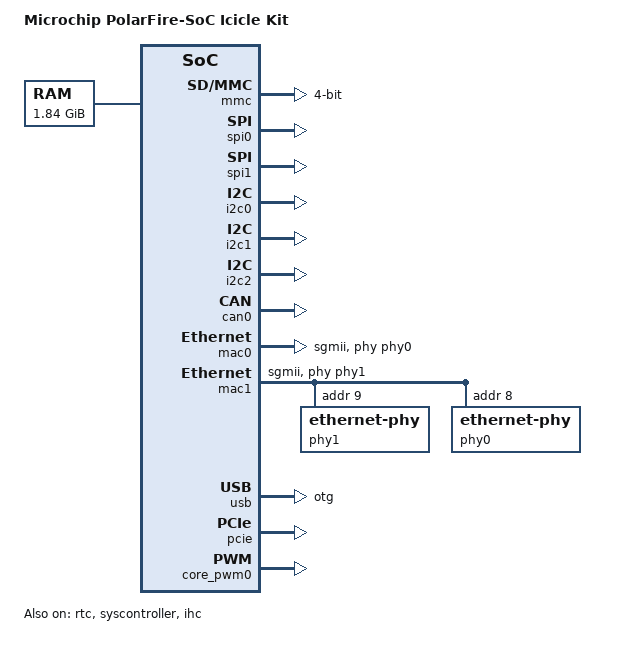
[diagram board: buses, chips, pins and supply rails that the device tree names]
// SPDX-License-Identifier: (GPL-2.0 OR MIT)
/* Copyright (c) 2020-2021 Microchip Technology Inc */

/dts-v1/;

#include "microchip-mpfs.dtsi"

/* Clock frequency (in Hz) of the rtcclk */
#define RTCCLK_FREQ		1000000

/ {
	#address-cells = <2>;
	#size-cells = <2>;
	model = "Microchip PolarFire-SoC Icicle Kit";
	compatible = "microchip,mpfs-icicle-kit", "microchip,mpfs";

	aliases {
		ethernet0 = &mac1;
		serial0 = &mmuart0;
		serial1 = &mmuart1;
		serial2 = &mmuart2;
		serial3 = &mmuart3;
		serial4 = &mmuart4;
	};

	chosen {
		stdout-path = "serial1:115200n8";
	};

	cpus {
		timebase-frequency = <RTCCLK_FREQ>;
	};

	reserved-memory {
		#address-cells = <2>;
		#size-cells = <2>;
		ranges;

		/*
		* 0x10_75BB_0000 ~ 0x10_75FB_0000 is reserved for context B (BM/RTOS)
		* Shouldn't be used in Linux (context A)
		*
		* 0x10_75FB_0000 ~ 0x10_75FC_0000 is used by context A and context B
		  RPMsg vrings
		*/

		fabricbuf0ddrc: buffer@80000000 {
			compatible = "shared-dma-pool";
			reg = <0x0 0x80000000 0x0 0x2000000>;
		};

		fabricbuf1ddrnc: buffer@c0000000 {
			compatible = "shared-dma-pool";
			reg = <0x0 0xc0000000 0x0 0x8000000>;
		};

		fabricbuf2ddrncwcb: buffer@d0000000 {
			compatible = "shared-dma-pool";
			reg = <0x0 0xd0000000 0x0 0x8000000>;
		};

		contextb_reserved: contextb_reserved@1075BB0000 {
			reg = <0x10 0x75BB0000 0x0 0x400000>;
		};

		rpmsg_vrings_reserved: rpmsg_vrings@1075FB0000 {
			reg = <0x10 0x75FB0000 0x0 0x10000>;
		};

		rpmsg_dma_reserved: rpmsg_dma@1075FC0000 {
			compatible = "shared-dma-pool";
			reg = <0x10 0x75FC0000 0x0 0x40000>;
			label = "rpmsg-ddr";
		};
	};

	udmabuf0 {
		compatible = "ikwzm,u-dma-buf";
		device-name = "udmabuf-ddr-c0";
		minor-number = <0>;
		size = <0x0 0x2000000>;
		memory-region = <&fabricbuf0ddrc>;
		sync-mode = <3>;
	};

	udmabuf1 {
		compatible = "ikwzm,u-dma-buf";
		device-name = "udmabuf-ddr-nc0";
		minor-number = <1>;
		size = <0x0 0x8000000>;
		memory-region = <&fabricbuf1ddrnc>;
		sync-mode = <3>;
	};

	udmabuf2 {
		compatible = "ikwzm,u-dma-buf";
		device-name = "udmabuf-ddr-nc-wcb0";
		minor-number = <2>;
		size = <0x0 0x8000000>;
		memory-region = <&fabricbuf2ddrncwcb>;
		sync-mode = <3>;
	};

	ddrc_cache: memory@1000000000 {
		device_type = "memory";
		reg = <0x10 0x0 0x0 0x75BB0000>;
		clocks = <&clkcfg CLK_DDRC>;
		status = "okay";
	};

	rpmsg: rpmsg {
		compatible = "microchip,miv-rpmsg";
		reg =  <0x10 0x75FB0000 0x0 0x10000>; // 64Kb reserved for vrings
		memory-region = <&rpmsg_dma_reserved>;
		mboxes= <&ihc 0>;
	};
};

&refclk {
	clock-frequency = <125000000>;
};

&mmuart1 {
	status = "okay";
};

&mmuart2 {
	status = "okay";
};

&mmuart3 {
	status = "disabled"; // in use by context b
};

&mmuart4 {
	status = "okay";
};

&mmc {
	status = "okay";
	bus-width = <4>;
	disable-wp;
	cap-sd-highspeed;
	cap-mmc-highspeed;
	card-detect-delay = <200>;
	mmc-ddr-1_8v;
	mmc-hs200-1_8v;
	sd-uhs-sdr12;
	sd-uhs-sdr25;
	sd-uhs-sdr50;
	sd-uhs-sdr104;
};

&spi0 {
	status = "okay";
};

&spi1 {
	status = "okay";
};

&i2c0 {
	status = "okay";
};

&i2c1 {
	status = "okay";
};

&i2c2 {
	status = "okay";
};

&can0 {
	status = "okay";
};

&mac0 {
	status = "okay";
	phy-mode = "sgmii";
	phy-handle = <&phy0>;
};

&mac1 {
	status = "okay";
	phy-mode = "sgmii";
	phy-handle = <&phy1>;
	phy1: ethernet-phy@9 {
		reg = <9>;
		ti,fifo-depth = <0x1>;
	};
	phy0: ethernet-phy@8 {
		reg = <8>;
		ti,fifo-depth = <0x1>;
	};
};

&gpio2 {
	interrupts = <53>, <53>,
		     <53>, <53>,
		     <53>, <53>,
		     <53>, <53>,
		     <53>, <53>,
		     <53>, <53>,
		     <53>, <53>,
		     <53>, <53>,
		     <53>, <53>,
		     <53>, <53>,
		     <53>, <53>,
		     <53>, <53>,
		     <53>, <53>,
		     <53>, <53>,
		     <53>, <53>,
		     <53>, <53>;
	status = "okay";
};

&rtc {
	status = "okay";
};

&usb {
	status = "okay";
	dr_mode = "otg";
};

&mbox {
	status = "okay";
};

&syscontroller {
	status = "okay";
};

&pcie {
	status = "okay";
};

&core_pwm0 {
	status = "okay";
};

&fpgadma {
	status = "okay";
};

&fpgalsram {
	status = "okay";
};

&ihc {
	status = "okay";
};

&cpu4 {
	status = "disabled"; // in use by context b
};
